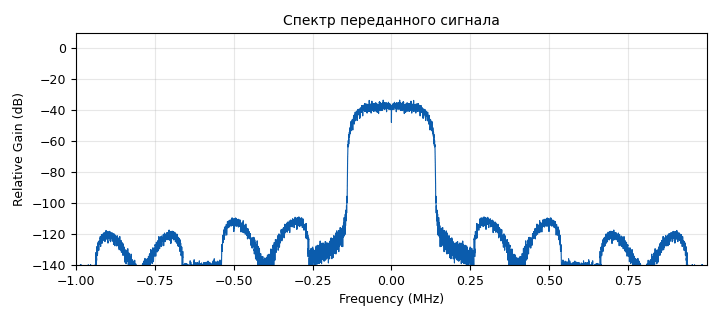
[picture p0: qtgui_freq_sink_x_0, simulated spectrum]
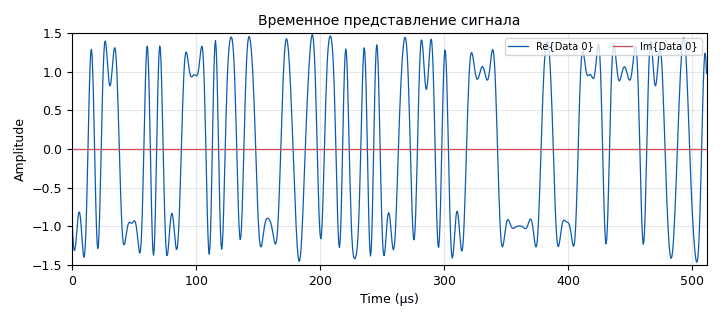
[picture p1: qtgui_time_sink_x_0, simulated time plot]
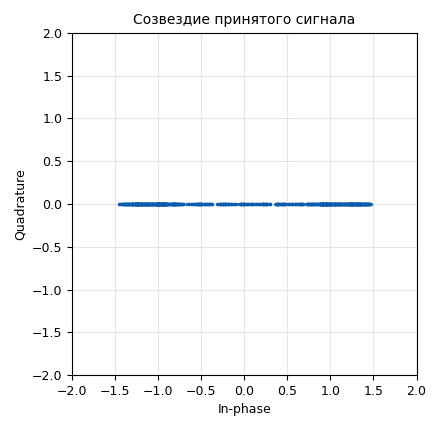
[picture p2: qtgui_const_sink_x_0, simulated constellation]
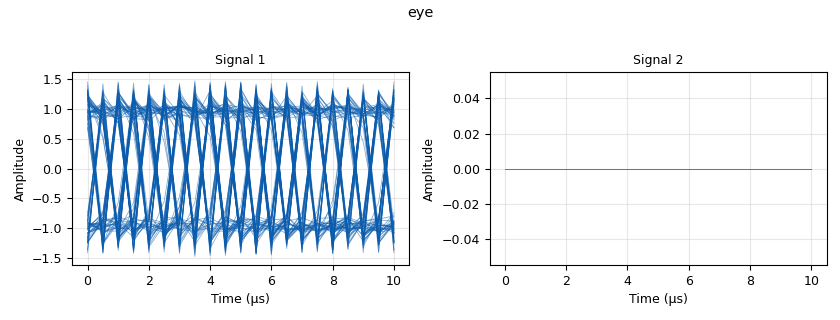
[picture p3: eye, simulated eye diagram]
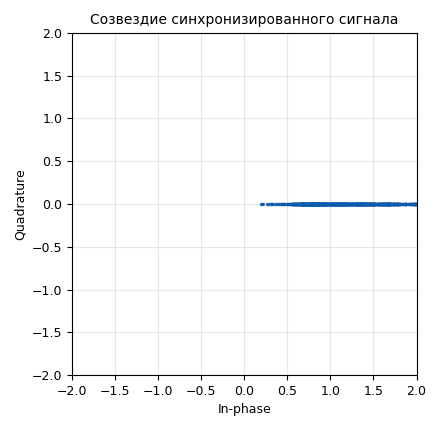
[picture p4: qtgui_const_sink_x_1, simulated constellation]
options:
  parameters:
    author: Lab5
    generate_options: qt_gui
    id: lab5_2_1_bpsk
    output_language: python
    title: 'ЛР5 п.2.1-2.7.1  BPSK: Symbol Sync + грубая синхронизация (x² + PLL)'
  states: {}

blocks:
- name: samp_rate
  id: variable
  parameters:
    value: 2e6
  states: {}
- name: sps
  id: variable
  parameters:
    value: '10'
  states: {}
- name: alpha
  id: variable
  parameters:
    value: '0.4'
  states: {}
- name: Rs
  id: variable
  parameters:
    value: samp_rate/sps
  states: {}
- name: psk
  id: variable_constellation
  parameters:
    precision: '8'
    type: bpsk
  states: {}
- name: src
  id: analog_random_uniform_source_x
  parameters:
    seed: '0'
    type: byte
    minimum: '0'
    maximum: '2'
  states: {}
- name: pack
  id: blocks_unpacked_to_packed_xx
  parameters:
    bits_per_chunk: '1'
    type: byte
    endianness: gr.GR_MSB_FIRST
  states: {}
- name: mod
  id: digital_constellation_modulator
  parameters:
    differential: 'False'
    samples_per_symbol: sps
    excess_bw: alpha
    constellation: psk
  states: {}
- name: blocks_throttle2_0
  id: blocks_throttle2
  parameters:
    samples_per_second: samp_rate
    type: complex
  states: {}
- name: noise
  id: variable_qtgui_range
  parameters:
    value: '0'
    start: '0'
    stop: '1'
    step: '0.001'
    label: '"Noise Voltage, В"'
  states: {}
- name: channel
  id: channels_channel_model
  parameters:
    noise_voltage: noise
    freq_offset: '0'
    epsilon: '1.0'
    taps: '1.0'
    seed: '0'
  states: {}
- name: vsink
  id: virtual_sink
  parameters:
    stream_id: psk
  states: {}
- name: vsrc
  id: virtual_source
  parameters:
    stream_id: psk
  states: {}
- name: qtgui_freq_sink_x_0
  id: qtgui_freq_sink_x
  parameters:
    type: complex
    name: '"Спектр переданного сигнала"'
    fftsize: '8192'
    fc: '0'
    bw: samp_rate
    grid: 'True'
    average: '0.1'
  states: {}
- name: qtgui_time_sink_x_0
  id: qtgui_time_sink_x
  parameters:
    type: complex
    name: '"Временное представление сигнала"'
    size: '1024'
    srate: samp_rate
    grid: 'True'
    ymin: '-1.5'
    ymax: '1.5'
    tr_slope: qtgui.TRIG_MODE_POS
  states: {}
- name: qtgui_const_sink_x_0
  id: qtgui_const_sink_x
  parameters:
    type: complex
    name: '"Созвездие принятого сигнала"'
    size: '1024'
    grid: 'True'
    tr_slope: qtgui.TRIG_MODE_POS
  states: {}
- name: symsync
  id: digital_symbol_sync_xx
  parameters:
    constellation: psk
    sps: sps
    ted_gain: '1.0'
    loop_bw: alpha
    damping: '1'
    max_dev: '1.5'
    osps: '1'
    pfb_mf_taps: firdes.root_raised_cosine(128, 128*sps, 1.0, alpha, 11*sps*128)
    type: cc
    ted_type: digital.TED_EARLY_LATE
    resamp_type: digital.IR_MMSE_8TAP
  states: {}
- name: eye
  id: qtgui_eye_sink_x
  parameters:
    type: complex
    size: '2048'
    samp_per_symbol: sps
    srate: samp_rate
    grid: 'True'
    autoscale: 'True'
    ymin: '-2'
    ymax: '2'
    tr_slope: qtgui.TRIG_MODE_POS
  states: {}
- name: square
  id: blocks_multiply_xx
  parameters:
    type: complex
  states: {}
- name: pll
  id: analog_pll_carriertracking_cc
  parameters:
    w: '0.0628'
    max_freq: '0.7'
    min_freq: '-0.7'
  states: {}
- name: qtgui_const_sink_x_1
  id: qtgui_const_sink_x
  parameters:
    type: complex
    name: '"Созвездие синхронизированного сигнала"'
    size: '1024'
    grid: 'True'
    tr_slope: qtgui.TRIG_MODE_POS
  states: {}

connections:
- [src, '0', pack, '0']
- [pack, '0', mod, '0']
- [mod, '0', blocks_throttle2_0, '0']
- [blocks_throttle2_0, '0', channel, '0']
- [channel, '0', vsink, '0']
- [channel, '0', qtgui_freq_sink_x_0, '0']
- [channel, '0', qtgui_time_sink_x_0, '0']
- [vsrc, '0', qtgui_const_sink_x_0, '0']
- [vsrc, '0', symsync, '0']
- [symsync, '0', eye, '0']
- [symsync, '0', square, '0']
- [symsync, '0', square, '1']
- [square, '0', pll, '0']
- [pll, '0', qtgui_const_sink_x_1, '0']

metadata:
  file_format: 1
  grc_version: 3.10.12.0
